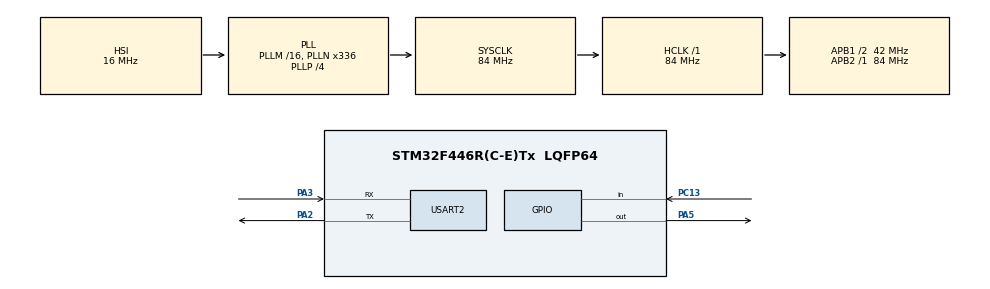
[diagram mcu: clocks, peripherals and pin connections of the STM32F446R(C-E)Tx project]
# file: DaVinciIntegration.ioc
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FREERTOS.Tasks01=defaultTask,0,128,StartDefaultTask,Default,NULL,Dynamic,NULL,NULL
FREERTOS.configUSE_PREEMPTION=0
FREERTOS.configUSE_TIMERS=1
Mcu.Family=STM32F4
Mcu.Name=STM32F446R(C-E)Tx
Mcu.Package=LQFP64
NVIC.PriorityGroup=NVIC_PRIORITYGROUP_4
NVIC.TIM3_IRQn=true\:0\:0\:false\:false\:true\:false\:false\:true
NVIC.TimeBase=TIM3_IRQn
NVIC.TimeBaseIP=TIM3
PA2.Mode=Asynchronous
PA2.Signal=USART2_TX
PA3.Mode=Asynchronous
PA3.Signal=USART2_RX
PA5.Signal=GPIO_Output
PC13.Signal=GPIO_Input
ProjectManager.HeapSize=0x200
ProjectManager.StackSize=0x400
ProjectManager.TargetToolchain=MDK-ARM V5.27
RCC.48MHZClocksFreq_Value=84000000
RCC.AHBFreq_Value=84000000
RCC.APB1CLKDivider=RCC_HCLK_DIV2
RCC.APB1Freq_Value=42000000
RCC.APB1TimFreq_Value=84000000
RCC.APB2Freq_Value=84000000
RCC.APB2TimFreq_Value=84000000
RCC.CortexFreq_Value=84000000
RCC.FLatency-AdvancedSettings=FLASH_LATENCY_2
RCC.HCLKFreq_Value=84000000
RCC.HSE_VALUE=8000000
RCC.HSI_VALUE=16000000
RCC.PLLN=336
RCC.PLLP=RCC_PLLP_DIV4
RCC.SYSCLKFreq_VALUE=84000000
RCC.SYSCLKSource=RCC_SYSCLKSOURCE_PLLCLK
RCC.USBFreq_Value=168000000
RCC.VCOOutputFreq_Value=336000000
USART2.VirtualMode=VM_ASYNC
VP_FREERTOS_VS_CMSIS_V1.Mode=CMSIS_V1
VP_SYS_VS_tim3.Mode=TIM3
board=NUCLEO-F446RE

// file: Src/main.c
/* USER CODE BEGIN Header */
/**
  ******************************************************************************
  * @file           : main.c
  * @brief          : Main program body
  ******************************************************************************
  * @attention
  *
  * <h2><center>&copy; Copyright (c) 2020 STMicroelectronics.
  * All rights reserved.</center></h2>
  *
  * This software component is licensed by ST under Ultimate Liberty license
  * SLA0044, the "License"; You may not use this file except in compliance with
  * the License. You may obtain a copy of the License at:
  *                             www.st.com/SLA0044
  *
  ******************************************************************************
  */
/* USER CODE END Header */

#define RTE_CORE
#include "main.h"
#include "OsInt.h"
#include "cmsis_os.h"
#include "Rte_CpAp1.h"
#include "Rte_CpAp2.h"
#include "Rte_CpAp3.h"
#include "uart.h"

//UART_HandleTypeDef huart2;
osThreadId defaultTaskHandle;
VAR(UInt16, RTE_VAR_NOINIT) Rte_Graph_122_Cnt_u16;

/* USER CODE BEGIN PV */
/*NOTE: FreeRTOS specific BEGIN*/
osThreadId CpAp1TaskHandle;
osThreadId CpAp2TaskHandle;
osTimerId CpAp1TimerHandle;
osTimerId CpAp2TimerHandle;
void CallbackCpAp1Timer(void const * arguments);
void CallbackCpAp2Timer(void const * arguments);
/*NOTE: FreeRTOS specific END*/
/* USER CODE END PV */

void SystemClock_Config(void);
static void MX_GPIO_Init(void);
void StartDefaultTask(void const * argument);
//void MX_USART2_UART_Init(void);

int main(void)
{

  /* MCU Configuration--------------------------------------------------------*/

  /* Reset of all peripherals, Initializes the Flash interface and the Systick. */
  HAL_Init();

  /* Configure the system clock */
  SystemClock_Config();

  /* Initialize all configured peripherals */
  MX_GPIO_Init();
  MX_USART2_UART_Init();

  /* USER CODE BEGIN RTOS_TIMERS */
  /*NOTE: FreeRTOS specific BEGIN*/
  osTimerDef(myTimerCpAp01, CallbackCpAp1Timer);
  CpAp1TimerHandle = osTimerCreate(osTimer(myTimerCpAp01), osTimerPeriodic, NULL);
  osTimerDef(myTimerCpAp02, CallbackCpAp2Timer);
  CpAp2TimerHandle = osTimerCreate(osTimer(myTimerCpAp02), osTimerPeriodic, NULL);
  /*NOTE: FreeRTOS specific END*/
  /* USER CODE END RTOS_TIMERS */

  /* Create the thread(s) */
  /* definition and creation of defaultTask */
  osThreadDef(defaultTask,StartDefaultTask, osPriorityNormal, 0, 128);
  defaultTaskHandle = osThreadCreate(osThread(defaultTask), NULL);
  /* USER CODE BEGIN RTOS_THREADS */
  /*NOTE: FreeRTOS specific BEGIN*/

  osThreadDef(Task_CpAp1,Os_Task_Task_CpAp1_1s, osPriorityNormal, 0, 128);
  CpAp1TaskHandle = osThreadCreate(osThread(Task_CpAp1), NULL);
  osThreadDef(Task_CpAp2, Os_Task_Task_CpAp2_2s, osPriorityAboveNormal, 0, 128);
  CpAp2TaskHandle = osThreadCreate(osThread(Task_CpAp2), NULL);
  /*NOTE: FreeRTOS specific END*/
  /* USER CODE END RTOS_THREADS */

 /* Start scheduler */
  osKernelStart();

  /* We should never get here as control is now taken by the scheduler */
  /* Infinite loop */
  /* USER CODE BEGIN WHILE */
  /*NOTE: FreeRTOS specific BEGIN*/

  /*NOTE: FreeRTOS specific END*/
  while (1)
  {
    /* USER CODE END WHILE */

  }
}

void SystemClock_Config(void)
{
  RCC_OscInitTypeDef RCC_OscInitStruct = {0};
  RCC_ClkInitTypeDef RCC_ClkInitStruct = {0};

  /** Configure the main internal regulator output voltage
  */
  __HAL_RCC_PWR_CLK_ENABLE();
  __HAL_PWR_VOLTAGESCALING_CONFIG(PWR_REGULATOR_VOLTAGE_SCALE3);
  /** Initializes the CPU, AHB and APB busses clocks
  */
  RCC_OscInitStruct.OscillatorType = RCC_OSCILLATORTYPE_HSI;
  RCC_OscInitStruct.HSIState = RCC_HSI_ON;
  RCC_OscInitStruct.HSICalibrationValue = RCC_HSICALIBRATION_DEFAULT;
  RCC_OscInitStruct.PLL.PLLState = RCC_PLL_ON;
  RCC_OscInitStruct.PLL.PLLSource = RCC_PLLSOURCE_HSI;
  RCC_OscInitStruct.PLL.PLLM = 16;
  RCC_OscInitStruct.PLL.PLLN = 336;
  RCC_OscInitStruct.PLL.PLLP = RCC_PLLP_DIV4;
  RCC_OscInitStruct.PLL.PLLQ = 2;
  RCC_OscInitStruct.PLL.PLLR = 2;
  if (HAL_RCC_OscConfig(&RCC_OscInitStruct) != HAL_OK)
  {
    Error_Handler();
  }
  /** Initializes the CPU, AHB and APB busses clocks
  */
  RCC_ClkInitStruct.ClockType = RCC_CLOCKTYPE_HCLK|RCC_CLOCKTYPE_SYSCLK
                              |RCC_CLOCKTYPE_PCLK1|RCC_CLOCKTYPE_PCLK2;
  RCC_ClkInitStruct.SYSCLKSource = RCC_SYSCLKSOURCE_PLLCLK;
  RCC_ClkInitStruct.AHBCLKDivider = RCC_SYSCLK_DIV1;
  RCC_ClkInitStruct.APB1CLKDivider = RCC_HCLK_DIV2;
  RCC_ClkInitStruct.APB2CLKDivider = RCC_HCLK_DIV1;

  if (HAL_RCC_ClockConfig(&RCC_ClkInitStruct, FLASH_LATENCY_2) != HAL_OK)
  {
    Error_Handler();
  }
}

static void MX_GPIO_Init(void)
{
  GPIO_InitTypeDef GPIO_InitStruct = {0};

  /* GPIO Ports Clock Enable */
  __HAL_RCC_GPIOC_CLK_ENABLE();
  __HAL_RCC_GPIOA_CLK_ENABLE();

  /*Configure GPIO pin Output Level */
  HAL_GPIO_WritePin(GPIOA, GPIO_PIN_5, GPIO_PIN_RESET);

  /*Configure GPIO pin : PC13 */
  GPIO_InitStruct.Pin = GPIO_PIN_13;
  GPIO_InitStruct.Mode = GPIO_MODE_INPUT;
  GPIO_InitStruct.Pull = GPIO_NOPULL;
  HAL_GPIO_Init(GPIOC, &GPIO_InitStruct);

  /*Configure GPIO pin : PA5 */
  GPIO_InitStruct.Pin = GPIO_PIN_5;
  GPIO_InitStruct.Mode = GPIO_MODE_OUTPUT_PP;
  GPIO_InitStruct.Pull = GPIO_NOPULL;
  GPIO_InitStruct.Speed = GPIO_SPEED_FREQ_LOW;
  HAL_GPIO_Init(GPIOA, &GPIO_InitStruct);

}

void StartDefaultTask(void const * argument)
{
  /* USER CODE BEGIN 5 */
  uint8_t txData[] = "running default thread message\r\n";
  osTimerStart(CpAp1TimerHandle,1000);
  osTimerStart(CpAp2TimerHandle,2000);
  /* Infinite loop */
  for(;;)
  {

    //HAL_UART_Transmit(getUART(), &txData[0], sizeof(txData), 4);
    osDelay(1000);
  }
  /* USER CODE END 5 */
}

/**********************************************************************************************************************
 * Task:     Task_CpAp1_1s
 * Priority: 5
 * Schedule: NON
 * Alarm:    Cycle Time 1 s Alarm Offset 0 s
 *********************************************************************************************************************/
TASK(Task_CpAp1_1s) /* PRQA S 3408, 1503 */ /* MD_Rte_3408, MD_MSR_Unreachable */
{
  uint32_t notifiedFlag = 0x00;
  for(;;)
  {
    xTaskNotifyWait(pdFALSE, 0xFF, &notifiedFlag, portMAX_DELAY);
    if(0x01 == (0x01 & notifiedFlag))
    {
      /* call runnable */
      CpAp1_1s(); /* PRQA S 2987 */ /* MD_Rte_2987 */
    }
  }
  //(void)TerminateTask(); /* PRQA S 3417 */ /* MD_Rte_Os */
} /* PRQA S 6010, 6030, 6050, 6080 */ /* MD_MSR_STPTH, MD_MSR_STCYC, MD_MSR_STCAL, MD_MSR_STMIF */

/**********************************************************************************************************************
 * Task:     Task_CpAp2_2s
 * Priority: 10
 * Schedule: NON
 * Alarm:    Cycle Time 2 s Alarm Offset 0 s
 *********************************************************************************************************************/
TASK(Task_CpAp2_2s) /* PRQA S 3408, 1503 */ /* MD_Rte_3408, MD_MSR_Unreachable */
{
  uint32_t notifiedFlag = 0x00;
  for(;;)
  {
    xTaskNotifyWait(pdFALSE, 0xFF, &notifiedFlag, portMAX_DELAY);
    if(0x01 == (0x01 & notifiedFlag))
    {
      /* call runnable */
      CpAp2_2s(); /* PRQA S 2987 */ /* MD_Rte_2987 */
    }
  }
 //(void)TerminateTask(); /* PRQA S 3417 */ /* MD_Rte_Os */
} /* PRQA S 6010, 6030, 6050, 6080 */ /* MD_MSR_STPTH, MD_MSR_STCYC, MD_MSR_STCAL, MD_MSR_STMIF */

/*NOTE: FreeRTOS specific BEGIN*/
void CallbackCpAp1Timer(void const * arguments)
{
  xTaskNotify(CpAp1TaskHandle,0x01,eSetBits);

}

void CallbackCpAp2Timer(void const * arguments)
{
  xTaskNotify(CpAp2TaskHandle,0x01,eSetBits);
}

/*NOTE: FreeRTOS specific END*/

 /**
  * @brief  Period elapsed callback in non blocking mode
  * @note   This function is called  when TIM3 interrupt took place, inside
  * HAL_TIM_IRQHandler(). It makes a direct call to HAL_IncTick() to increment
  * a global variable "uwTick" used as application time base.
  * @param  htim : TIM handle
  * @retval None
  */
void HAL_TIM_PeriodElapsedCallback(TIM_HandleTypeDef *htim)
{
  if (htim->Instance == TIM3) {
    HAL_IncTick();
  }
}

void Error_Handler(void)
{
}

/************************ (C) COPYRIGHT STMicroelectronics *****END OF FILE****/
